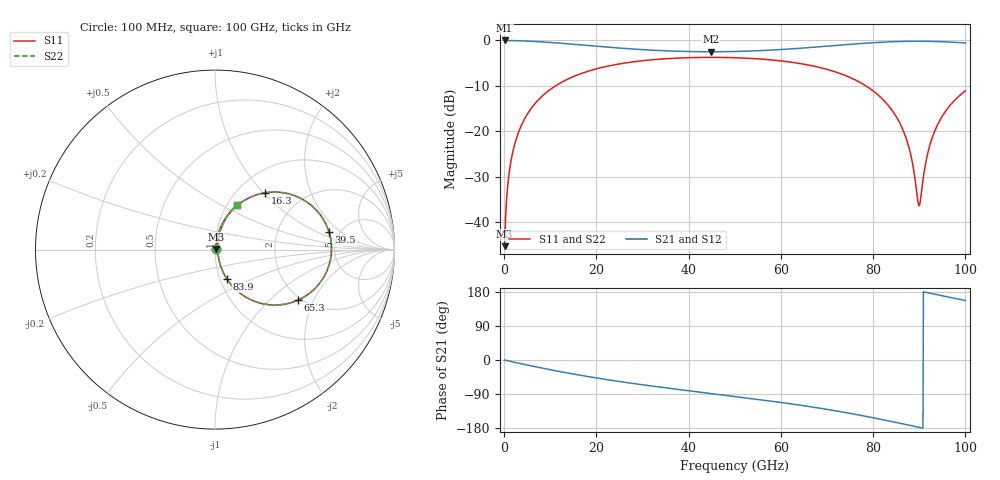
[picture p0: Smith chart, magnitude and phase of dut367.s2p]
! Touchstone file exported from HFSS 2026.1.0
!  File:  C:/ffzhzh/LocalFiles/Ansys_Project_Files/temp_train_RDL_367_1783503477_44152.aedt
!  Generated:  05:39:23 PM Jul  8, 2026
!  Design:  RDL
!  Project:  temp_train_RDL_367_1783503477_44152
! Variables:
!  h_bsmrdl = 2um
!  h_ox = 20um
!  h_rdl = 5um
!  h_sub = 80um
!  h_tmrdl = 3.78um
!  h_tsv = 80um
!  h_via = 3um
!  l_bsmrdl = 300um
!  l_sub = 1066.36um
!  l_tmrdl = 666.36um
!  m_sub = 200um
!  pitch = 47.1um
!  r_tsv = 6um
!  s_tmrdl = 10um
!  w_bsmrdl = 18um
!  w_sub = 500um
!  w_tmrdl = 14.62um
!  x_tsv_center1 = 673.67um
!  x_tsv_center2 = 991.67um
!  x_tsv_center3 = 1672.65um
!  x_tsv_center4 = 1990.65um
!  x_tsv_center5 = 2671.63um
!  x_tsv_center6 = 2989.63um
# GHz S MA R 50.000000
! Terminal data exported
! Port[1] = TM_RDL1_1_T1
! Port[2] = TM_RDL1_1_T2
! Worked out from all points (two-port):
!   1000 points, 100 MHz to 100 GHz, reference 50 ohm
!   highest |S21| = -0.04 dB at 100 MHz (marker M1); lowest = -2.5 dB at 44.8 GHz (marker M2)
!   |S21| within 3 dB of the highest: start of sweep to end of sweep
!   lowest |S11| = -45.2 dB at 100 MHz (marker M3), VSWR 1.01, Z = 50.4 + j0.334 ohm
!   |S11| at or under -10 dB: start of sweep to 11.18 GHz; 78.4 GHz to end of sweep
!   |S22| runs from -45.2 to -3.8 dB; largest |S21 - S12| = 1.8e-14
!   S11 on the Smith chart (normalised r, x): 100 MHz: 1.01, +0.01; 16.3 GHz: 1.33, +1.03; 39.5 GHz: 4.11, +1.37; 65.3 GHz: 1.93, -1.53; 83.9 GHz: 1.08, -0.36; 100 GHz: 1.11, +0.60
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0.1  0.005468 37.3  0.9957 -0.3  0.9957 -0.3  0.005468 37.3
! Gamma 0 0 0 0
! Port Impedance 50 0 50 0
0.9  0.02916 77.5  0.9945 -2.4  0.9945 -2.4  0.02916 77.5
1.5  0.04768 79.4  0.9935 -4.0  0.9935 -4.0  0.04768 79.4
4  0.1239 76.2  0.9854 -10.7  0.9854 -10.7  0.1239 76.2
8.8  0.2578 64.9  0.9559 -22.8  0.9559 -22.8  0.2578 64.9
16.3  0.4236 48.4  0.8927 -39.8  0.8927 -39.8  0.4235 48.4
16.8  0.4327 47.4  0.8883 -40.9  0.8883 -40.9  0.4326 47.4
33.4  0.6185 18.0  0.7726 -70.9  0.7726 -70.9  0.6184 18.0
39.5  0.6428 8.8  0.7533 -80.3  0.7533 -80.3  0.6427 8.8
44.8  0.6493 1.0  0.748 -88.3  0.748 -88.3  0.6493 1.0
50.1  0.643 -6.8  0.7533 -96.3  0.7533 -96.3  0.6429 -6.8
65.3  0.5424 -31.2  0.8255 -121.3  0.8255 -121.3  0.5423 -31.2
66.7  0.5254 -33.7  0.8358 -123.9  0.8358 -123.9  0.5254 -33.7
76.7  0.3546 -53.4  0.9164 -144.7  0.9164 -144.7  0.3545 -53.3
83.4  0.1893 -67.1  0.9604 -160.8  0.9604 -160.8  0.1892 -67.1
83.9  0.1756 -68.0  0.9628 -162.0  0.9628 -162.0  0.1755 -67.9
87.4  0.07673 -70.4  0.974 -171.0  0.974 -171.0  0.07667 -70.3
90  0.01525 6.1  0.9759 -177.7  0.9759 -177.7  0.01532 6.4
91.8  0.05623 71.3  0.9739 177.6  0.9739 177.6  0.05631 71.3
93.5  0.1046 74.3  0.9696 173.2  0.9696 173.2  0.1047 74.3
96.3  0.1826 70.8  0.9577 166.1  0.9577 166.1  0.1827 70.9
100  0.2781 63.6  0.9347 157.1  0.9347 157.1  0.2782 63.6
